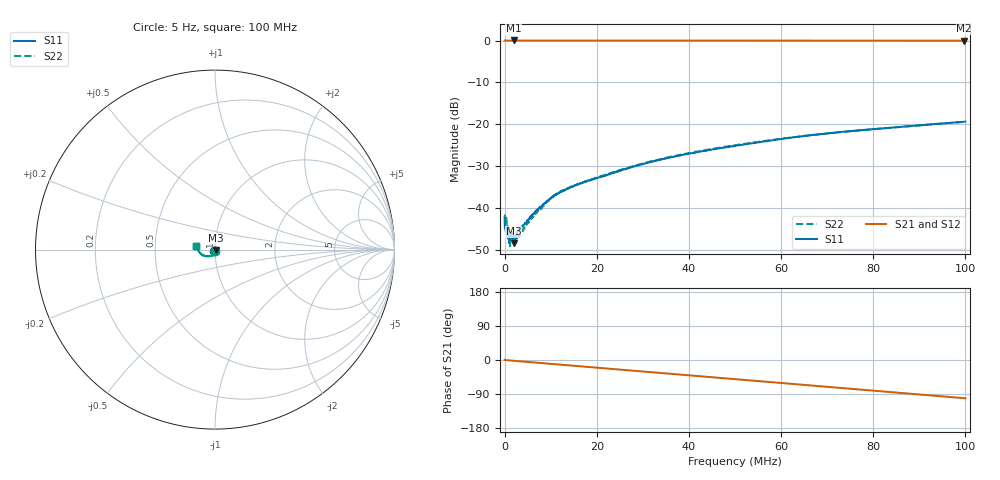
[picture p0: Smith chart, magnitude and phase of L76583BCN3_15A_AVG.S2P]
!Agilent Technologies,E5061B,MY49102235,A.02.00
!Date: Tue Jul 11 15:39:12 2023
!Data & Calibration Information:
!Freq	S11:SOLT2(ON)	S21:SOLT2(ON)	S12:SOLT2(ON)	S22:SOLT2(ON)
# Hz S RI R 50
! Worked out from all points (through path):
!   1600 points, 5 Hz to 100 MHz, reference 50 ohm
!   highest |S21| = 0.02 dB at 1.939 MHz (marker M1); lowest = 0.0 dB at 99.75 MHz (marker M2)
!   group delay of S21, straight-line fit = 2.81 ns
!   lowest |S11| = -48.4 dB at 1.939 MHz (marker M3), VSWR 1.01, Z = 50.3 - j0.22 ohm
!   |S11| at or under -10 dB: start of sweep to end of sweep
!   |S22| runs from -49.1 to -19.4 dB; largest |S21 - S12| = 0.0027
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5  -0.00526 -0.00563  1.002 0.00799  1 0.0102  -0.00155 -0.00754
437778.6  0.00515 -0.000573  1.001 -0.00535  1.001 -0.0061  0.0066 -0.0022
625395.8  0.00508 -0.000584  1.002 -0.0106  1.002 -0.0102  0.0061 -0.000949
938091.3  0.00431 -0.000337  1.001 -0.015  1.001 -0.0148  0.00589 -0.000927
1500943  0.00433 -0.00241  1.001 -0.0251  1.001 -0.025  0.00301 -0.00357
1938717  0.00312 -0.00219  1.002 -0.0339  1.001 -0.0333  0.00342 -0.00193
2376490  0.00329 -0.00282  0.9998 -0.0416  1 -0.0418  0.00395 -0.00248
3252037  0.00424 -0.00396  0.9994 -0.0572  0.9992 -0.0569  0.00315 -0.00345
6003757  0.00334 -0.00742  0.9954 -0.1055  0.9954 -0.1052  0.0029 -0.00725
9505946  0.00153 -0.0124  0.987 -0.167  0.9871 -0.1667  0.000966 -0.0124
1.156974e7  8.19e-05 -0.0151  0.9804 -0.2027  0.98 -0.2024  -0.000771 -0.0152
1.669794e7  -0.00363 -0.0196  0.9574 -0.2904  0.9573 -0.29  -0.00396 -0.0197
2.582865e7  -0.0105 -0.0268  0.8987 -0.4402  0.8985 -0.4399  -0.00839 -0.0282
3.333334e7  -0.0188 -0.0324  0.8322 -0.5548  0.8321 -0.5544  -0.0175 -0.0336
4.033771e7  -0.0276 -0.0358  0.7572 -0.6528  0.7572 -0.6524  -0.0273 -0.037
5.003127e7  -0.041 -0.0373  0.6349 -0.772  0.6348 -0.7716  -0.0413 -0.0384
6.672921e7  -0.0682 -0.0309  0.3827 -0.9217  0.383 -0.9217  -0.0675 -0.0313
7.53596e7  -0.0806 -0.0218  0.2386 -0.9683  0.2388 -0.9681  -0.08 -0.0227
8.33646e7  -0.0903 -0.0101  0.1002 -0.9917  0.1001 -0.9917  -0.0899 -0.0118
9.161976e7  -0.0991 0.00416  -0.045 -0.9948  -0.0449 -0.9948  -0.0987 0.00154
9.974984e7  -0.1057 0.02  -0.1863 -0.9772  -0.186 -0.9773  -0.1055 0.0174
1e8  -0.1059 0.0204  -0.1906 -0.9764  -0.1904 -0.9765  -0.1058 0.018
